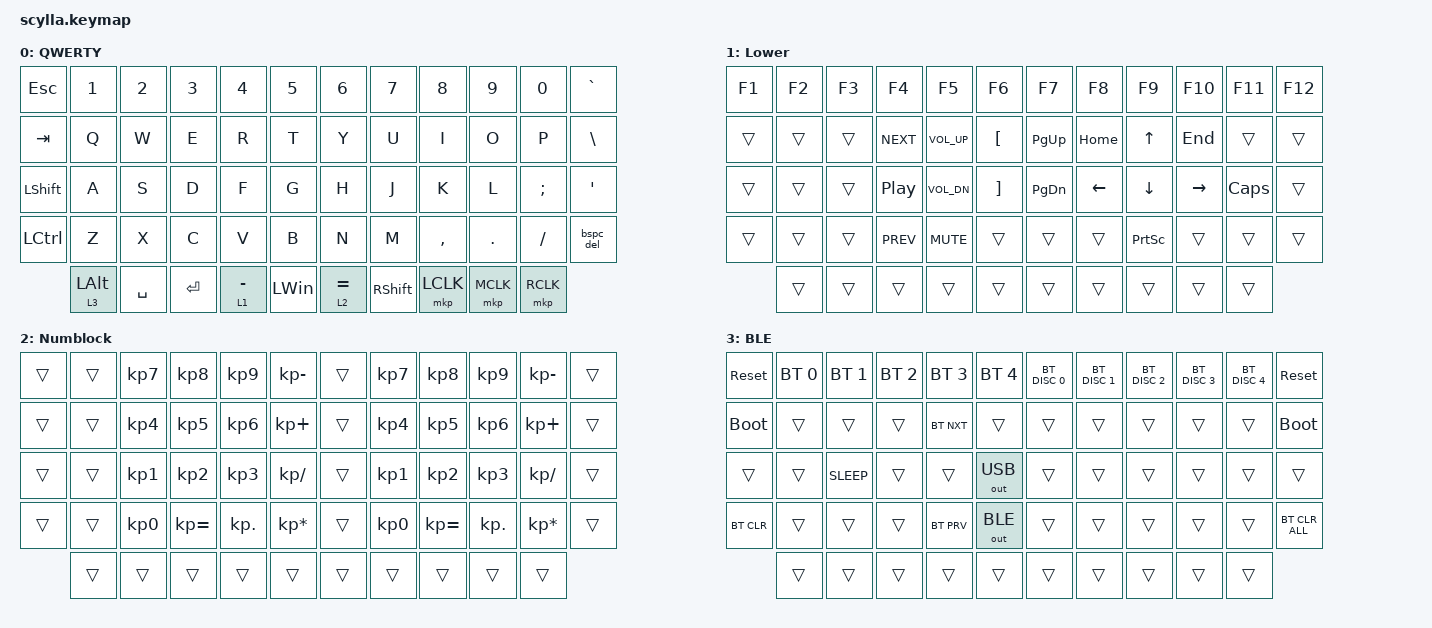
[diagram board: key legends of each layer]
/*
 * Copyright (c) 2023 The ZMK Contributors
 * SPDX-License-Identifier: MIT
 */

#include <behaviors.dtsi>
#include <dt-bindings/zmk/outputs.h>
#include <dt-bindings/zmk/keys.h>
#include <dt-bindings/zmk/bt.h>
#include <dt-bindings/zmk/mouse.h>

// Layers
#define QW_M    0       // Main
#define QW_L    1       // Lower
#define QW_R    2       // Numblock
#define QC_B    3       // Firmware


/*
 * Assign the cs-gpios pin to 4.
 * Uncomment these next few lines if implementing nice!view Displays.
 */
//nice_view_spi: &spi0 {
//  cs-gpios = <&pro_micro 4 GPIO_ACTIVE_HIGH>;
//};

/ {
    behaviors {
        bspc_del: backspace_delete {
            compatible = "zmk,behavior-mod-morph";
            #binding-cells = <0>;
            bindings = <&kp BACKSPACE>, <&kp DELETE>;
            mods = <(MOD_LSFT|MOD_RSFT)>;
            keep-mods = <(MOD_RSFT)>;
        };
    };

    keymap {
        compatible = "zmk,keymap";

        default_layer {
            display-name = " QWERTY";
            bindings = <
&kp ESC    &kp N1     &kp N2     &kp N3     &kp N4         &kp N5           &kp N6         &kp N7     &kp N8     &kp N9     &kp N0       &kp GRAVE
&kp TAB    &kp Q      &kp W      &kp E      &kp R          &kp T            &kp Y          &kp U      &kp I      &kp O      &kp P        &kp BSLH
&kp LSHFT  &kp A      &kp S      &kp D      &kp F          &kp G            &kp H          &kp J      &kp K      &kp L      &kp SEMI     &kp SQT
&kp LCTRL  &kp Z      &kp X      &kp C      &kp V          &kp B            &kp N          &kp M      &kp COMMA  &kp DOT    &kp FSLH     &bspc_del
           &lt 3 LALT &kp SPACE  &kp RET    &lt 1 MINUS    &kp LWIN         &lt 2 EQUAL    &kp RSHFT  &mkp LCLK  &mkp MCLK  &mkp RCLK
            >;
        };

        lower_layer {
            display-name = " Lower";
            bindings = <
&kp F1     &kp F2     &kp F3     &kp F4     &kp F5         &kp F6           &kp F7         &kp F8     &kp F9     &kp F10    &kp F11      &kp F12
&trans     &trans     &trans     &kp C_NEXT &kp C_VOL_UP   &kp LBKT         &kp PG_UP      &kp HOME   &kp UP     &kp END    &trans       &trans
&trans     &trans     &trans     &kp C_PP   &kp C_VOL_DN   &kp RBKT         &kp PG_DN      &kp LEFT   &kp DOWN   &kp RIGHT  &kp CAPS     &trans
&trans     &trans     &trans     &kp C_PREV &kp C_MUTE     &trans           &trans         &trans     &kp PSCRN  &trans     &trans       &trans
           &trans     &trans     &trans     &trans         &trans           &trans         &trans     &trans     &trans     &trans
            >;
        };

        Numblock_layer {
            display-name = " Numblock";
            bindings = <
&trans     &trans     &kp KP_N7  &kp KP_N8  &kp KP_N9      &kp KP_MINUS     &trans         &kp KP_N7  &kp KP_N8  &kp KP_N9  &kp KP_MINUS      &trans
&trans     &trans     &kp KP_N4  &kp KP_N5  &kp KP_N6      &kp KP_PLUS      &trans         &kp KP_N4  &kp KP_N5  &kp KP_N6  &kp KP_PLUS       &trans
&trans     &trans     &kp KP_N1  &kp KP_N2  &kp KP_N3      &kp KP_DIVIDE    &trans         &kp KP_N1  &kp KP_N2  &kp KP_N3  &kp KP_DIVIDE     &trans
&trans     &trans     &kp KP_N0  &kp KP_EQUAL &kp KP_DOT   &kp KP_MULTIPLY  &trans         &kp KP_N0  &kp KP_EQUAL &kp KP_DOT &kp KP_MULTIPLY &trans
           &trans     &trans     &trans     &trans         &trans           &trans         &trans     &trans     &trans     &trans
            >;
        };

        ble_layer {
            display-name = " BLE";
            bindings = <

&sys_reset     &bt BT_SEL 0    &bt BT_SEL 1    &bt BT_SEL 2    &bt BT_SEL 3        &bt BT_SEL 4          &bt BT_DISC 0        &bt BT_DISC 1    &bt BT_DISC 2    &bt BT_DISC 3    &bt BT_DISC 4           &sys_reset
&bootloader    &trans     &trans     &trans     &bt BT_NXT         &trans           &trans         &trans     &trans     &trans     &trans            &bootloader
&trans     &trans     &kp C_SLEEP &trans    &trans         &out OUT_USB           &trans         &trans     &trans     &trans     &trans            &trans
&bt BT_CLR &trans     &trans     &trans     &bt BT_PRV     &out OUT_BLE           &trans         &trans     &trans     &trans     &trans            &bt BT_CLR_ALL
           &trans     &trans     &trans     &trans         &trans           &trans         &trans     &trans     &trans     &trans

            >;
        };

    };
};
